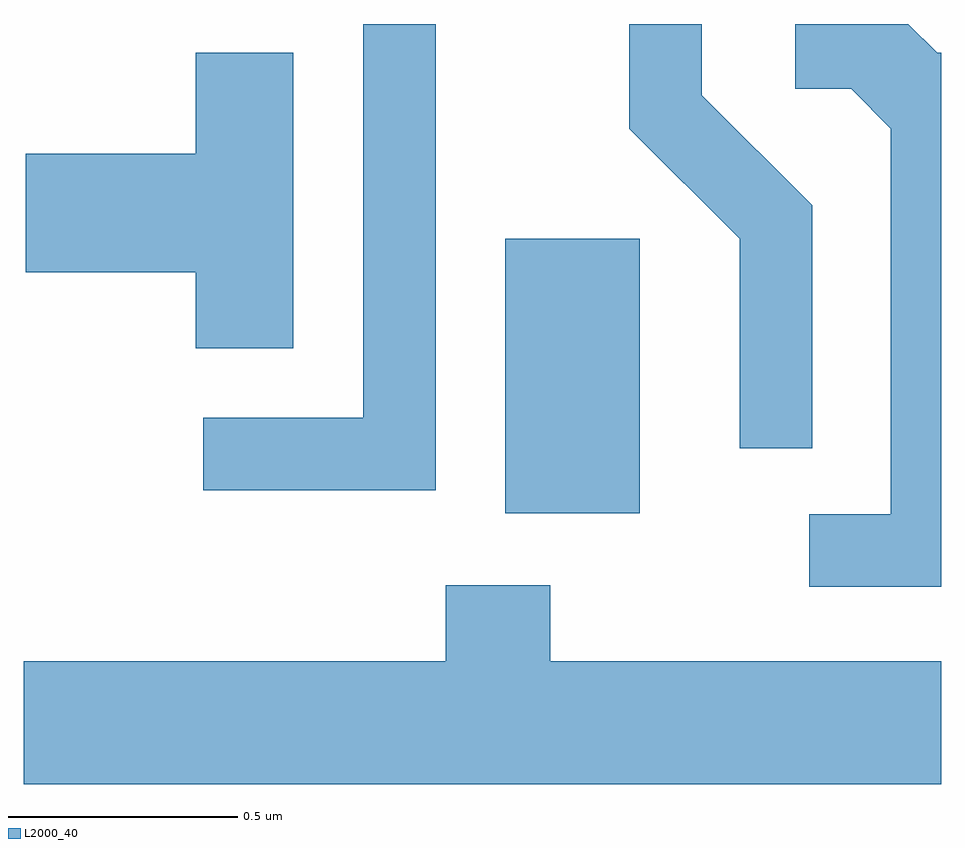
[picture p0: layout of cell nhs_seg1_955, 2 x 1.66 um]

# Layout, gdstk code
import gdstk
lib = gdstk.Library(unit=1e-6, precision=1e-09)
def R(c, l, rs):  # rectangles x0, y0, x1, y1
    for r in rs: c.add(gdstk.rectangle(r[:2], r[2:], *l))
def P(c, l, *ps):  # polygons
    for p in ps: c.add(gdstk.Polygon(p, *l))
L2000_40 = (2000, 40)

nhs_seg1_955 = lib.new_cell('nhs_seg1_955')
R(nhs_seg1_955, L2000_40, [(192.661,975.646,192.954,976.244)])
P(nhs_seg1_955, L2000_40, [(192.509,976.712),(192.351,976.712),(192.351,975.854),(192.003,975.854),(192.003,975.696),(192.509,975.696)],
  [(193.329,976.317),(193.089,976.557),(193.089,976.712),(192.931,976.712),(192.931,976.484),(193.171,976.244),(193.171,975.788),(193.329,975.788)],
  [(193.611,976.649),(193.602,976.649),(193.539,976.712),(193.293,976.712),(193.293,976.571),(193.414,976.571),(193.501,976.484),(193.501,975.644),(193.323,975.644),(193.323,975.486),(193.611,975.486)],
  [(192.199,976.649),(191.986,976.649),(191.986,976.429),(191.616,976.429),(191.616,976.171),(191.986,976.171),(191.986,976.006),(192.199,976.006)],
  [(193.611,975.324),(192.759,975.324),(192.759,975.489),(192.531,975.489),(192.531,975.324),(191.611,975.324),(191.611,975.056),(193.611,975.056)])

lib.write_gds('nhs_seg1_955.gds')
